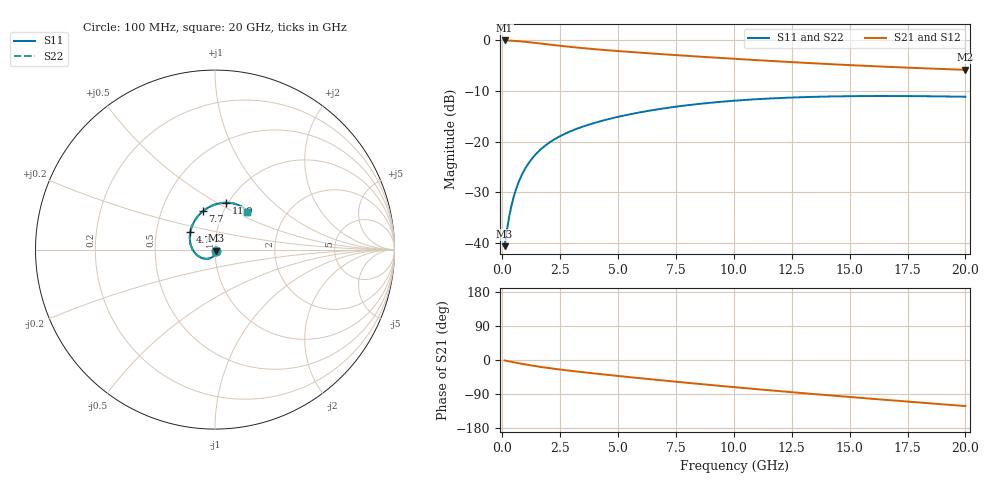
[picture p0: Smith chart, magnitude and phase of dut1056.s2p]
! Touchstone file exported from HFSS 2024.1.0
!  File:  C:/UserFiles/LocalFiles/RDL_TSV_Batchsim/temp_RDL_TSV_1056_1780089777.aedt
!  Generated:  05:35:40 AM May 30, 2026
!  Design:  RDL_TSV
!  Project:  temp_RDL_TSV_1056_1780089777
!  Setup:  Setup1
!  Solution:  Sweep
! Variables:
!  dtsv = 12.43um
!  hbump = 3um
!  htsv = 79.47um
!  ldown = 124.7um
!  lrdl = 241.11um
!  p = 40
!  p1 = 43.16um
!  rhole = 10um
!  subl = 1338.54um
!  t = 450um
!  tdown = 3.65um
!  trdl = 3.65um
!  viad = 10um
!  wdown = 25.6um
!  wrdl = 17.68um
!  xbump = 18um
# GHz S MA R 50.000000
! Terminal data exported
! Port[1] = TM1_1_T1
! Port[2] = TM1_4_T1
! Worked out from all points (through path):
!   200 points, 100 MHz to 20 GHz, reference 50 ohm
!   highest |S21| = -0.07 dB at 100 MHz (marker M1); lowest = -5.9 dB at 20 GHz (marker M2)
!   group delay of S21, straight-line fit = 15.9 ps
!   lowest |S11| = -40.6 dB at 100 MHz (marker M3), VSWR 1.02, Z = 50.7 - j0.594 ohm
!   |S11| at or under -10 dB: start of sweep to end of sweep
!   |S22| runs from -40.6 to -11.0 dB; largest |S21 - S12| = 1.7e-14
!   S11 on the Smith chart (normalised r, x): 100 MHz: 1.01, -0.01; 4.7 GHz: 0.75, +0.15; 7.7 GHz: 0.80, +0.36; 11.9 GHz: 0.98, +0.55; 20 GHz: 1.29, +0.59
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0.1  0.009301 -39.0  0.992 -1.3  0.992 -1.3  0.0093 -39.0
! Gamma 0 0 0 0
! Port Impedance 50 0 50 0
0.2  0.01336 -61.9  0.9907 -2.5  0.9907 -2.5  0.01336 -61.9
0.3  0.01828 -75.4  0.9887 -3.7  0.9887 -3.7  0.01828 -75.5
0.4  0.02353 -85.0  0.9861 -4.9  0.9861 -4.9  0.02353 -85.0
0.5  0.02887 -92.5  0.9831 -6.1  0.9831 -6.1  0.02887 -92.5
0.6  0.03421 -98.9  0.9796 -7.3  0.9796 -7.3  0.0342 -98.9
0.8  0.04466 -109.8  0.9714 -9.6  0.9714 -9.6  0.04466 -109.8
1.1  0.05947 -123.5  0.9565 -12.8  0.9565 -12.8  0.05947 -123.6
1.3  0.06866 -131.6  0.9456 -14.8  0.9456 -14.8  0.06866 -131.7
1.5  0.07728 -139.1  0.9342 -16.8  0.9342 -16.8  0.07729 -139.2
2  0.09655 -155.8  0.9055 -21.2  0.9055 -21.2  0.09657 -155.8
2.7  0.1191 -175.3  0.8686 -26.7  0.8686 -26.7  0.1192 -175.4
3.5  0.1409 166.3  0.8329 -32.4  0.8329 -32.4  0.141 166.3
4.7  0.1688 144.6  0.7894 -40.2  0.7894 -40.2  0.169 144.5
5.7  0.1893 130.1  0.7589 -46.5  0.7589 -46.5  0.1896 130.0
6.8  0.2093 116.9  0.729 -53.2  0.729 -53.2  0.2096 116.8
7.7  0.2237 107.7  0.7064 -58.5  0.7064 -58.5  0.2241 107.6
10.1  0.2535 88.2  0.6524 -72.1  0.6524 -72.1  0.254 88.1
11.9  0.268 77.0  0.6173 -81.8  0.6173 -81.8  0.2687 77.0
13.4  0.2757 69.5  0.5913 -89.6  0.5913 -89.6  0.2763 69.5
16.7  0.2811 57.1  0.5444 -105.9  0.5444 -105.9  0.2819 57.1
20  0.2765 49.5  0.5093 -121.6  0.5093 -121.6  0.2773 49.5
